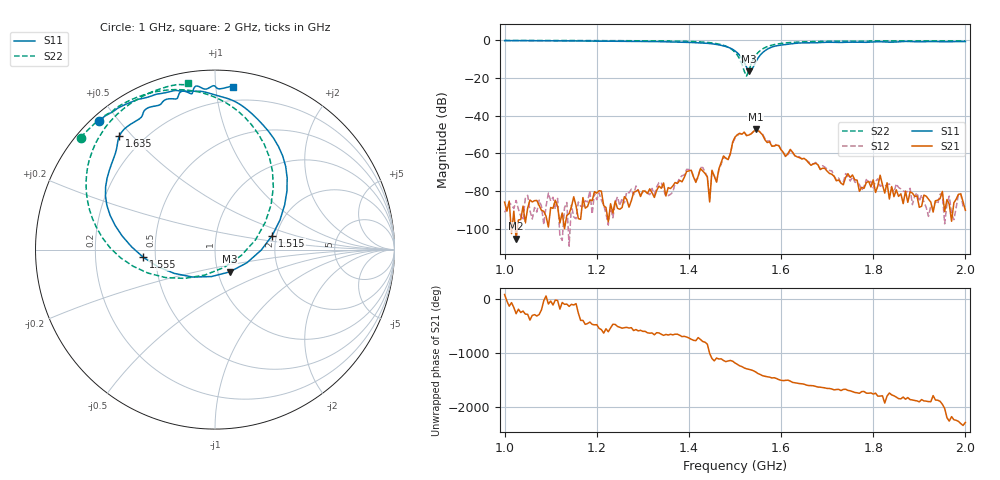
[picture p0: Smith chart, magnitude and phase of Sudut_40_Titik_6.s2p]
# Hz S RI R 50
! CMT, C1220, 16058040, 17.2.0/1
! Date: 14/08/2018 12:20:21
! Data: Format (Calibration Info)
! Freq  S11: Re/Im (F2)  S21: Re/Im (F2)  S12: Re/Im (F2)  S22: Re/Im (F2)
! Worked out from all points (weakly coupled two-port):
!   201 points, 1 GHz to 2 GHz, reference 50 ohm
!   highest |S21| = -47.27 dB at 1.545 GHz (marker M1); lowest = -105.0 dB at 1.025 GHz (marker M2)
!   lowest |S11| = -16.5 dB at 1.53 GHz (marker M3), VSWR 1.35, Z = 57.1 - j14.5 ohm
!   |S11| at or under -10 dB: 1.516 GHz to 1.549 GHz (33.13 MHz wide, 2.16 % of centre)
!   |S22| runs from -19.1 to -0.2 dB; largest |S21 - S12| = 0.00024
!   S11 on the Smith chart (normalised r, x): 1 GHz: 0.02, +0.45; 1.515 GHz: 1.90, +0.33; 1.555 GHz: 0.43, -0.04; 1.635 GHz: 0.12, +0.46; 2 GHz: 0.11, +1.11
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1e9  -0.6436 0.716  9.61e-06 5.1e-05  -2.52e-05 1.16e-05  -0.748 0.624
1.025e9  -0.6221 0.7352  5.21e-07 5.59e-06  -5.29e-05 -2.22e-05  -0.7314 0.6426
1.17e9  -0.464 0.823  5.32e-05 -4.27e-05  3.9e-05 6.46e-06  -0.6113 0.7486
1.335e9  -0.1955 0.8843  5.06e-06 0.000137  6.56e-05 0.000156  -0.3965 0.862
1.365e9  -0.1061 0.8826  8.24e-05 0.000111  4.23e-05 8.48e-05  -0.329 0.8798
1.395e9  -0.0329 0.8714  0.000326 7.3e-05  0.000369 9.38e-05  -0.24 0.8907
1.43e9  0.1077 0.8267  0.000118 -0.000324  0.000119 -0.000408  -0.0906 0.8781
1.445e9  0.1657 0.7905  1.97e-05 4.86e-05  2.93e-05 5.57e-05  -0.00616 0.8513
1.45e9  0.1876 0.7727  0.000325 -0.000155  0.000269 -0.000186  0.0258 0.8369
1.46e9  0.2393 0.7247  0.000168 -5.12e-05  0.000156 -8.66e-05  0.0942 0.7968
1.5e9  0.4008 0.3272  -0.000839 -0.00257  -0.000749 -0.00243  0.3249 0.3474
1.515e9  0.3189 0.0785  -0.00322 -0.000247  -0.00324 -0.000396  0.225 0.0538
1.53e9  0.0826 -0.1239  -0.00212 0.00223  -0.00212 0.00228  -0.0565 -0.1418
1.545e9  -0.2262 -0.1328  0.000353 0.00431  0.000261 0.00434  -0.3737 -0.1307
1.555e9  -0.3995 -0.0427  0.00284 0.0022  0.00276 0.00239  -0.5267 -0.0452
1.635e9  -0.5333 0.6314  -0.000431 -0.000689  -0.00043 -0.000696  -0.6781 0.5629
1.67e9  -0.4205 0.7287  -0.000522 -8.98e-05  -0.000512 -0.000123  -0.6182 0.6702
1.775e9  -0.2205 0.8392  1.73e-05 0.000126  1.85e-05 0.000105  -0.455 0.8241
1.805e9  -0.1929 0.8779  5.65e-05 7.43e-05  0.000184 -8.97e-06  -0.4115 0.8495
1.815e9  -0.1745 0.8831  0.000266 -5.76e-06  0.000132 3.24e-05  -0.3978 0.8568
1.835e9  -0.1341 0.8683  3.52e-05 5.19e-05  0.000156 -1.32e-05  -0.3713 0.8697
2e9  0.099 0.9033  -1.92e-05 -2.48e-05  -3.28e-05 -1.13e-05  -0.1492 0.9276
